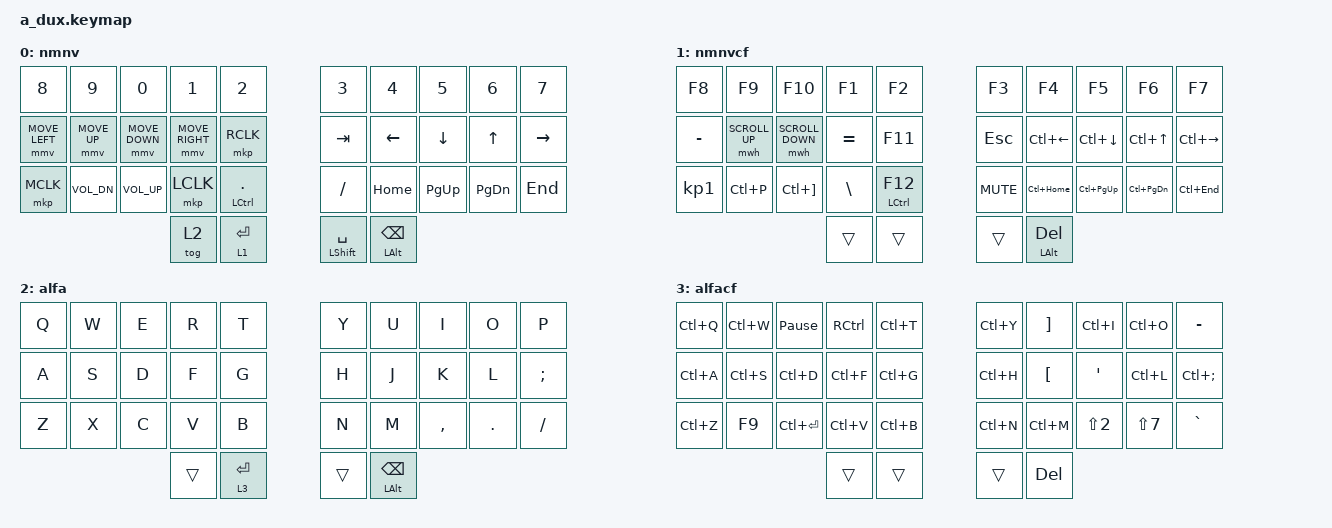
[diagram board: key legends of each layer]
/*
 * Copyright (c) 2021 The ZMK Contributors
 *
 * SPDX-License-Identifier: MIT
 */

#include <behaviors.dtsi>
#include <dt-bindings/zmk/keys.h>
#include <dt-bindings/zmk/mouse.h>
#define nmnv 0
#define nmnvcf 1
#define alfa 2
#define alfacf 3

&mmv {    
        time-to-max-speed-ms = <400>;
        acceleration-exponent=<1>;
};
&mwh {    
        time-to-max-speed-ms = <1000>;
        acceleration-exponent=<0>;
}; 

&mt {
        quick-tap-ms = <175>;
};

/ {

	keymap {
		compatible = "zmk,keymap";

		nmnv {
			bindings = <
			&kp N8         &kp N9       &kp N0         &kp N1          &kp N2          &kp N3        &kp N4   &kp N5    &kp N6    &kp N7
			&mmv MOVE_LEFT &mmv MOVE_UP &mmv MOVE_DOWN &mmv MOVE_RIGHT &mkp RCLK       &kp TAB       &kp LEFT &kp DOWN  &kp UP    &kp RIGHT      
			&mkp MCLK      &kp C_VOL_DN &kp C_VOL_UP   &mkp LCLK       &mt LCTRL DOT   &kp SLASH     &kp HOME &kp PG_UP &kp PG_DN &kp END   
				                                              &tog 2 &lt 1 ENTER   &mt LSHIFT SPACE &mt LALT BSPC
			>;
		};
		nmnvcf {
			bindings = <
			&kp F8     &kp F9         &kp F10          &kp F1    &kp F2          &kp F3     &kp F4       &kp F5        &kp F6        &kp F7
			&kp MINUS  &mwh SCROLL_UP &mwh SCROLL_DOWN &kp EQUAL &kp F11         &kp ESC    &kp LC(LEFT) &kp LC(DOWN)  &kp LC(UP)    &kp LC(RIGHT) 
			&kp KP_N1  &kp LC(P)   &kp LC(RBKT)     &kp BSLH  &mt LCTRL F12   &kp C_MUTE &kp LC(HOME) &kp LC(PG_UP) &kp LC(PG_DN) &kp LC(END)
				                                          &trans    &trans   &trans  &mt LALT DEL
			>;
		};
		alfa {
			bindings = <
			&kp Q     &kp W     &kp E     &kp R     &kp T     &kp Y     &kp U     &kp I     &kp O     &kp P
			&kp A     &kp S     &kp D     &kp F     &kp G     &kp H     &kp J     &kp K     &kp L     &kp SEMI
			&kp Z     &kp X     &kp C     &kp V     &kp B     &kp N     &kp M     &kp COMMA &kp DOT   &kp SLASH
				                 &trans   &lt 3 ENTER     &trans  &mt LALT BSPC
			>;
		};
		alfacf {
			bindings = <
			&kp LC(Q) &kp LC(W) &kp PAUSE_BREAK &kp RCTRL &kp LC(T)   &kp LC(Y) &kp RBKT  &kp LC(I)  &kp LC(O)  &kp MINUS 
			&kp LC(A) &kp LC(S) &kp LC(D)       &kp LC(F) &kp LC(G)   &kp LC(H) &kp LBKT  &kp SQT    &kp LC(L)  &kp LC(SEMI)
			&kp LC(Z) &kp F9    &kp LC(ENTER)   &kp LC(V) &kp LC(B)   &kp LC(N) &kp LC(M) &kp LS(N2) &kp LS(N7) &kp GRAVE 
				                               &trans   &trans    &trans  &kp DEL
			>;
		};

	};
};
